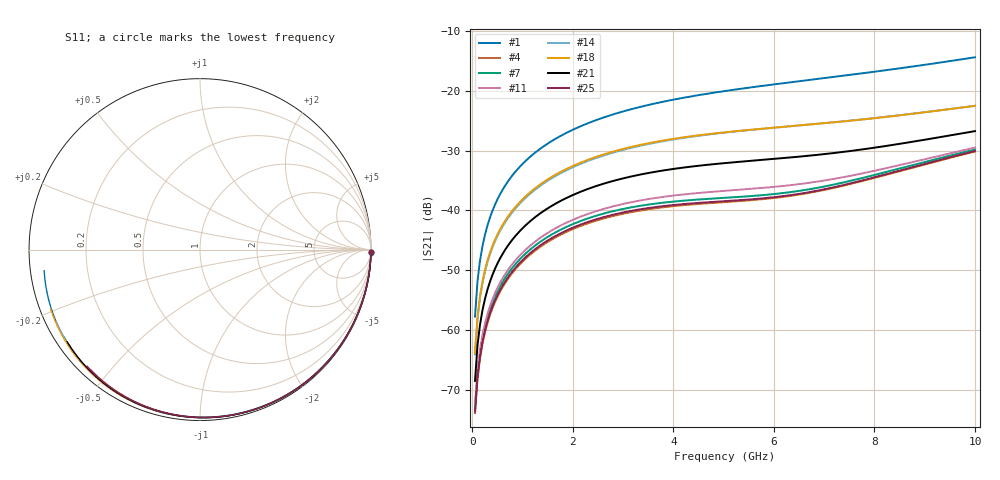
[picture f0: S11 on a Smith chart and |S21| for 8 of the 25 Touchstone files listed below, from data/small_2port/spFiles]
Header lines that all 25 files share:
! freq	dB(S11)	phase(S11)	dB(S12)	phase(S12)
!  dB(S21)	phase(S21)	dB(S22)	phase(S22)
!S-par simulation data
#  GHz  S  DB  R 50
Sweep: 50 MHz to 10 GHz
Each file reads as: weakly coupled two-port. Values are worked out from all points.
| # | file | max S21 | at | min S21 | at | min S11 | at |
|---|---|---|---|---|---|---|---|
| 1 | randomSmallGDS_pixelSize=8_sim=200.s2p | -14.37 dB | 10 GHz | -57.8 dB | 50 MHz | -0.7 dB | 10 GHz |
| 2 | randomSmallGDS_pixelSize=8_sim=203.s2p | -30.69 dB | 10 GHz | -75.9 dB | 50 MHz | -0.4 dB | 10 GHz |
| 3 | randomSmallGDS_pixelSize=8_sim=204.s2p | -29.50 dB | 10 GHz | -72.4 dB | 50 MHz | -0.5 dB | 10 GHz |
| 4 | randomSmallGDS_pixelSize=8_sim=207.s2p | -30.16 dB | 10 GHz | -73.9 dB | 50 MHz | -0.4 dB | 10 GHz |
| 5 | randomSmallGDS_pixelSize=8_sim=209.s2p | -17.12 dB | 10 GHz | -59.1 dB | 50 MHz | -0.5 dB | 10 GHz |
| 6 | randomSmallGDS_pixelSize=8_sim=210.s2p | -23.16 dB | 10 GHz | -65.2 dB | 50 MHz | -0.5 dB | 10 GHz |
| 7 | randomSmallGDS_pixelSize=8_sim=211.s2p | -29.81 dB | 10 GHz | -73.0 dB | 50 MHz | -0.5 dB | 10 GHz |
| 8 | randomSmallGDS_pixelSize=8_sim=212.s2p | -12.93 dB | 10 GHz | -56.2 dB | 50 MHz | -0.8 dB | 10 GHz |
| 9 | randomSmallGDS_pixelSize=8_sim=213.s2p | -13.38 dB | 10 GHz | -56.8 dB | 50 MHz | -0.8 dB | 10 GHz |
| 10 | randomSmallGDS_pixelSize=8_sim=214.s2p | -28.23 dB | 10 GHz | -70.8 dB | 50 MHz | -0.4 dB | 10 GHz |
| 11 | randomSmallGDS_pixelSize=8_sim=215.s2p | -29.49 dB | 10 GHz | -72.5 dB | 50 MHz | -0.4 dB | 10 GHz |
| 12 | randomSmallGDS_pixelSize=8_sim=216.s2p | -27.81 dB | 10 GHz | -69.8 dB | 50 MHz | -0.5 dB | 10 GHz |
| 13 | randomSmallGDS_pixelSize=8_sim=221.s2p | -28.66 dB | 10 GHz | -70.5 dB | 50 MHz | -0.5 dB | 10 GHz |
| 14 | randomSmallGDS_pixelSize=8_sim=222.s2p | -22.49 dB | 10 GHz | -64.1 dB | 50 MHz | -0.5 dB | 10 GHz |
| 15 | randomSmallGDS_pixelSize=8_sim=223.s2p | -27.41 dB | 10 GHz | -69.2 dB | 50 MHz | -0.5 dB | 10 GHz |
| 16 | randomSmallGDS_pixelSize=8_sim=224.s2p | -18.31 dB | 10 GHz | -60.5 dB | 50 MHz | -0.5 dB | 10 GHz |
| 17 | randomSmallGDS_pixelSize=8_sim=227.s2p | -18.79 dB | 10 GHz | -61.3 dB | 50 MHz | -0.6 dB | 10 GHz |
| 18 | randomSmallGDS_pixelSize=8_sim=228.s2p | -22.50 dB | 10 GHz | -63.9 dB | 50 MHz | -0.5 dB | 10 GHz |
| 19 | randomSmallGDS_pixelSize=8_sim=230.s2p | -25.52 dB | 10 GHz | -67.4 dB | 50 MHz | -0.5 dB | 10 GHz |
| 20 | randomSmallGDS_pixelSize=8_sim=231.s2p | -31.01 dB | 10 GHz | -79.5 dB | 50 MHz | -0.4 dB | 10 GHz |
| 21 | randomSmallGDS_pixelSize=8_sim=232.s2p | -26.74 dB | 10 GHz | -68.5 dB | 50 MHz | -0.5 dB | 10 GHz |
| 22 | randomSmallGDS_pixelSize=8_sim=236.s2p | -24.57 dB | 10 GHz | -65.8 dB | 50 MHz | -0.5 dB | 10 GHz |
| 23 | randomSmallGDS_pixelSize=8_sim=237.s2p | -29.37 dB | 10 GHz | -72.1 dB | 50 MHz | -0.5 dB | 10 GHz |
| 24 | randomSmallGDS_pixelSize=8_sim=238.s2p | -19.53 dB | 10 GHz | -61.6 dB | 50 MHz | -0.5 dB | 10 GHz |
| 25 | randomSmallGDS_pixelSize=8_sim=239.s2p | -30.07 dB | 10 GHz | -73.7 dB | 50 MHz | -0.4 dB | 10 GHz |
